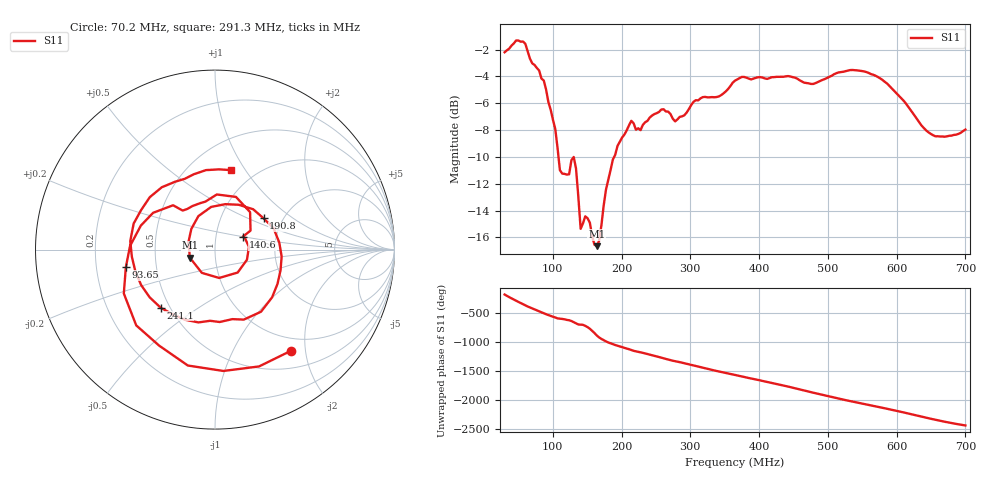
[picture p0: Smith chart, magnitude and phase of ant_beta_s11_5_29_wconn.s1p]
!Agilent Technologies,E8361C,US48110103,A.09.42.22
!Agilent E8361C: A.09.42.22
!Date: Friday, May 29, 2026 14:20:55
!Correction: S11(Full 2 Port(1,2))
!S1P File: Measurement: S11:
# Hz S  dB  R 50
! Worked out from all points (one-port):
!   201 points, 30 MHz to 700 MHz, reference 50 ohm
!   lowest |S11| = -16.7 dB at 164 MHz (marker M1), VSWR 1.34, Z = 37.6 - j3.49 ohm
!   |S11| at or under -10 dB: 108.4 MHz to 189.3 MHz (80.95 MHz wide, 54.4 % of centre)
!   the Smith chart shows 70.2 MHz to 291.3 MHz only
!   S11 on the Smith chart (normalised r, x): 70.2 MHz: 0.78, -1.74; 93.65 MHz: 0.33, -0.09; 140.6 MHz: 1.35, +0.20; 190.8 MHz: 1.59, +0.62; 241.1 MHz: 0.45, -0.36; 291.3 MHz: 0.77, +0.86
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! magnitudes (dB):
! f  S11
! 30 MHz  -2.2
! 56.8 MHz  -1.4
! 70.2 MHz  -3.0
! 86.95 MHz  -4.3
! 93.65 MHz  -5.9
! 113.8 MHz  -11.2
! 123.8 MHz  -11.3
! 130.5 MHz  -10.0
! 133.8 MHz  -10.9
! 140.6 MHz  -15.4
! 150.6 MHz  -14.6
! 164 MHz  -16.7
! 177.4 MHz  -12.4
! 190.8 MHz  -9.8
! 197.5 MHz  -8.9
! 214.2 MHz  -7.3
! 227.7 MHz  -8.0
! 241.1 MHz  -7.1
! 281.2 MHz  -7.2
! 291.3 MHz  -6.9
! 365 MHz  -4.3
! 448.8 MHz  -4.1
! 478.9 MHz  -4.6
! 532.5 MHz  -3.5
! 576 MHz  -4.1
! 616.2 MHz  -6.2
! 656.5 MHz  -8.5
! 700 MHz  -8.0
